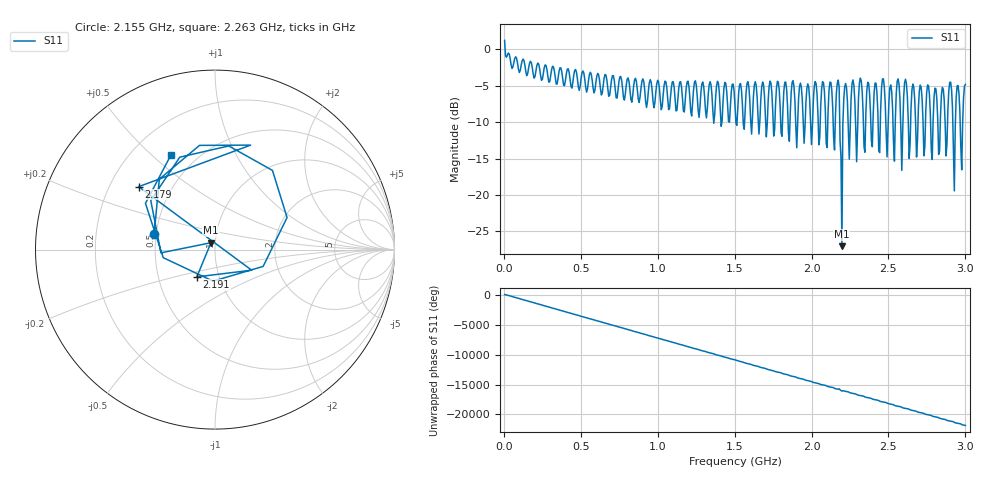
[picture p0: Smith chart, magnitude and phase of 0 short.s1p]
! NanoVNA-App by SYSJOINT et al v1.1.209 (+OD18)
! Date: 2025-09-17 09:44:52
! Start: 1MHz Stop: 3.001GHz Points: 501
! S-Parameter data: F S11
# Hz S RI R 50
!  Frequency  S11_Real  S11_Imag
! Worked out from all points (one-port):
!   501 points, 1 MHz to 3.001 GHz, reference 50 ohm
!   lowest |S11| = -27.0 dB at 2.197 GHz (marker M1), VSWR 1.09, Z = 47.7 + j3.66 ohm
!   |S11| at or under -10 dB: 1.896 GHz to 1.909 GHz (13.09 MHz wide, 0.688 % of centre); 2.183 GHz to 2.204 GHz (20.81 MHz wide, 0.949 % of centre); 2.238 GHz to 2.252 GHz (14.5 MHz wide, 0.646 % of centre) (the widest 3 of 34)
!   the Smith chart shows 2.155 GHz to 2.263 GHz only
!   S11 on the Smith chart (normalised r, x): 2.155 GHz: 0.49, +0.09; 2.179 GHz: 0.32, +0.33; 2.191 GHz: 0.78, -0.25; 2.263 GHz: 0.36, +0.58
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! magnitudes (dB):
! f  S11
! 1 MHz  1.2
! 379 MHz  -4.0
! 751 MHz  -3.8
! 1.129 GHz  -6.8
! 1.501 GHz  -7.7
! 1.879 GHz  -4.3
! 1.903 GHz  -13.5
! 2.023 GHz  -4.4
! 2.155 GHz  -9.1
! 2.179 GHz  -5.2
! 2.191 GHz  -14.8
! 2.197 GHz  -27.0
! 2.221 GHz  -4.7
! 2.251 GHz  -10.7
! 2.263 GHz  -4.7
! 2.419 GHz  -4.7
! 2.437 GHz  -13.9
! 2.467 GHz  -4.0
! 2.539 GHz  -15.4
! 2.563 GHz  -4.1
! 2.587 GHz  -16.6
! 2.611 GHz  -4.1
! 2.629 GHz  -9.7
! 2.755 GHz  -4.9
! 2.875 GHz  -14.7
! 2.905 GHz  -4.5
! 2.929 GHz  -19.5
! 3.001 GHz  -4.8
